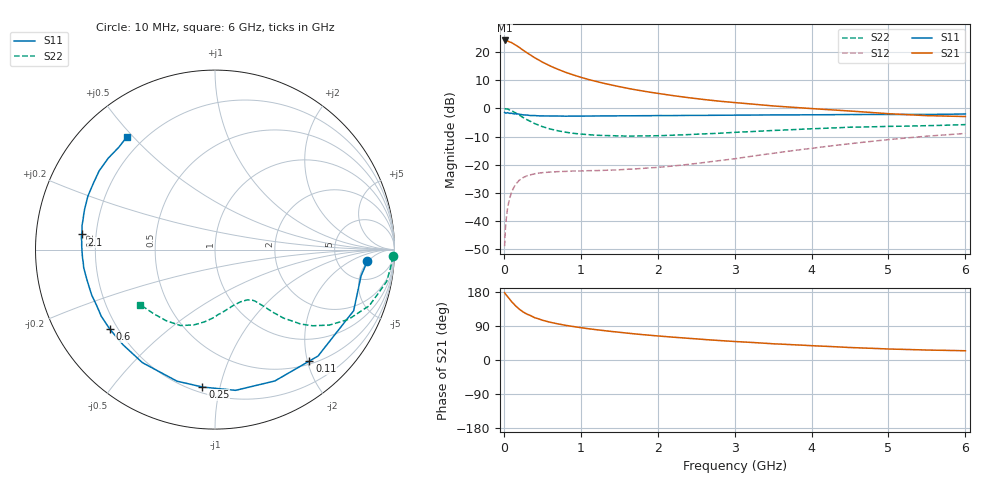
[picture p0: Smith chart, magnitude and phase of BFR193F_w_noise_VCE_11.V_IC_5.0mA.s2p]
! Infineon Technologies  Discrete & RF Semiconductors
! BFR193F
! VCE =  11. V,  IC =  5.0 mA
! Common Emitter S-Parameters:  Jan 2017
# GHz  S  MA  R  50
!  f  S11  S21  S12  S22
! GHz  MAG  ANG  MAG  ANG  MAG  ANG  MAG  ANG
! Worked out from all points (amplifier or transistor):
!   77 points, 10 MHz to 6 GHz, reference 50 ohm
!   highest |S21| = 24.1 dB at 10 MHz (marker M1)
!   |S21| within 3 dB of that: start of sweep to 227.4 MHz
!   unconditionally stable (mu >= 1): 1.871 GHz to 2.957 GHz
!   at 130 MHz: K = 0.10, MSG = 25.5 dB, |S12| = -28.0 dB
!   at 2.2 GHz: K = 1.06, MAG = 11.0 dB, |S12| = -20.4 dB
!   at 6 GHz: K = 0.76, MSG = 3.0 dB, |S12| = -8.9 dB
!   lowest NFmin = 0.81 dB at 450 MHz
!   S11 on the Smith chart (normalised r, x): 10 MHz: 10, -5; 110 MHz: 0.55, -2.04; 250 MHz: 0.24, -0.88; 600 MHz: 0.17, -0.33; 2.1 GHz: 0.14, +0.06; 6 GHz: 0.14, +0.48
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0.01  0.8512 -4.4  16.09 177.7  0.0036 87.5  0.9914 -2.2
0.02  0.8268 -10.2  15.82 174.5  0.0072 85.3  0.9877 -4.3
0.05  0.8442 -23.8  15.7 166.8  0.0175 76.6  0.9731 -10.5
0.1  0.8254 -45.9  14.77 154.1  0.0325 67.9  0.9148 -20.0
0.11  0.8137 -49.7  14.46 152.1  0.0348 65.6  0.8982 -21.4
0.15  0.8043 -65.5  13.41 143.4  0.0445 58.8  0.8378 -27.7
0.2  0.7925 -81.7  12.13 134.3  0.0532 51.6  0.7637 -33.4
0.25  0.7688 -95.2  10.81 126.9  0.0592 46.5  0.691 -37.9
0.3  0.763 -106.1  9.735 121.1  0.0638 42.3  0.6323 -41.0
0.4  0.7486 -122.7  7.956 111.7  0.0693 36.7  0.5397 -45.0
0.5  0.7374 -134.1  6.65 105.1  0.0726 33.5  0.4766 -47.2
0.6  0.7348 -142.9  5.698 99.7  0.0742 31.8  0.4328 -48.7
0.7  0.7344 -149.7  4.972 95.4  0.0756 31.2  0.4026 -50.0
0.8  0.7291 -154.9  4.393 91.6  0.0764 31.3  0.3792 -51.2
1.1  0.7329 -166.7  3.268 82.5  0.0786 34.2  0.3427 -55.2
1.3  0.7385 -172.3  2.795 77.6  0.0798 37.2  0.3309 -58.3
1.6  0.7405 -178.5  2.291 71.0  0.0833 42.8  0.3238 -64.1
2.1  0.7475 173.5  1.77 61.9  0.0926 53.7  0.3314 -74.2
3.1  0.7614 161.7  1.238 47.7  0.1342 70.0  0.382 -92.0
4.1  0.7728 150.4  0.975 36.9  0.204 75.2  0.441 -107.5
5.1  0.7822 138.2  0.794 28.5  0.2881 71.9  0.4825 -126.4
6  0.7974 128.0  0.719 24.4  0.36 65.6  0.5172 -143.6
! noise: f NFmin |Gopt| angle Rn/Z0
0.45  0.81  0.31  100  0.1
0.9  1.01  0.45  136  0.09
1.9  1.9  0.63  -179  0.06
2.4  2.34  0.67  -168  0.11
